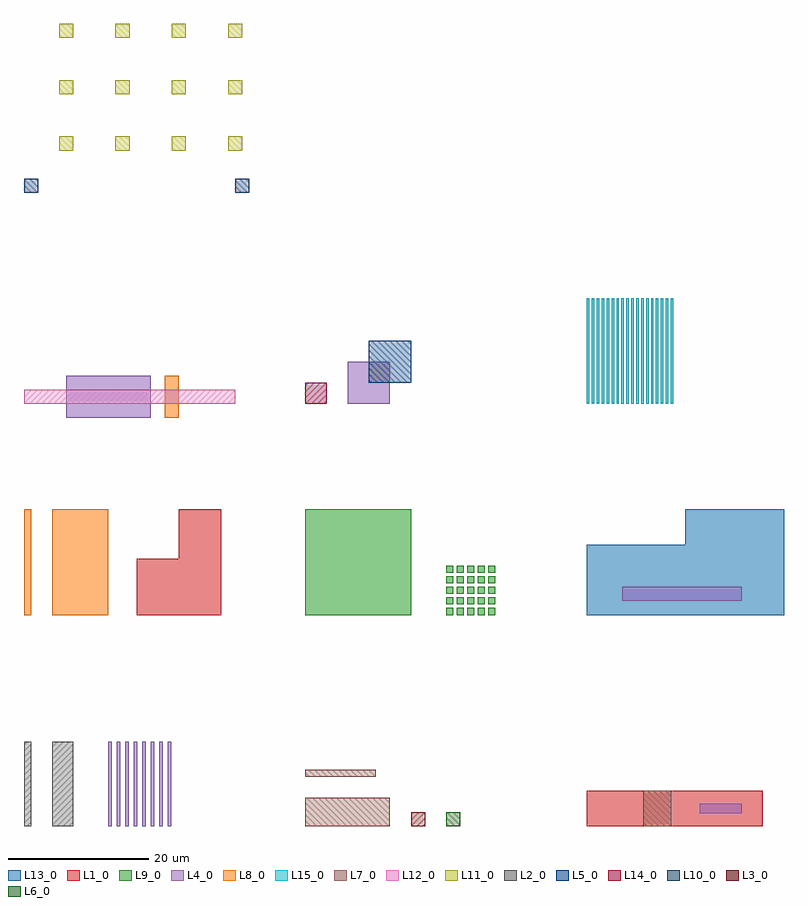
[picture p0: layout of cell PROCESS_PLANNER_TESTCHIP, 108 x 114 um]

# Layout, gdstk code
import gdstk
lib = gdstk.Library(unit=1e-6, precision=1e-09)
def R(c, l, rs):  # rectangles x0, y0, x1, y1
    for r in rs: c.add(gdstk.rectangle(r[:2], r[2:], *l))
def A(c, l, x, y, w, h, nx, ny, dx, dy):  # array of equal rectangles
    R(c, l, [(x+i*dx, y+j*dy, x+i*dx+w, y+j*dy+h) for i in range(nx) for j in range(ny)])
L1_0 = (1, 0)
L2_0 = (2, 0)
L3_0 = (3, 0)
L4_0 = (4, 0)
L5_0 = (5, 0)
L6_0 = (6, 0)
L7_0 = (7, 0)
L8_0 = (8, 0)
L9_0 = (9, 0)
L10_0 = (10, 0)
L11_0 = (11, 0)
L12_0 = (12, 0)
L13_0 = (13, 0)
L14_0 = (14, 0)
L15_0 = (15, 0)

cmp_planarization_densit = lib.new_cell('cmp_planarization_density')
A(cmp_planarization_densit, L9_0, 60, 30, 1, 1, 5, 5, 1.5, 1.5)
R(cmp_planarization_densit, L9_0, [(40,30,55,45)])

conformal_liner_challeng = lib.new_cell('conformal_liner_challenge')
R(conformal_liner_challeng, L1_0, [(16,30,22,38), (22,30,28,45)])
R(conformal_liner_challeng, L8_0, [(0,30,1,45), (4,30,12,45)])

fib_full_stack_test = lib.new_cell('fib_full_stack_test')
R(fib_full_stack_test, L4_0, [(6,58,18,64)])
R(fib_full_stack_test, L8_0, [(20,58,22,64)])
R(fib_full_stack_test, L12_0, [(0,60,30,62)])

grid_capture_test = lib.new_cell('grid_capture_test')
R(grid_capture_test, L10_0, [(0,90,2,92), (30,90,32,92)])
A(grid_capture_test, L11_0, 5, 96, 2, 2, 4, 3, 8, 8)

isotropic_undercut = lib.new_cell('isotropic_undercut')
R(isotropic_undercut, L1_0, [(80,0,105,5)])
R(isotropic_undercut, L4_0, [(96,1.8,102,3.2)])
R(isotropic_undercut, L7_0, [(88,0,92,5)])

label_stress_test = lib.new_cell('label_stress_test')
A(label_stress_test, L15_0, 80, 60, 0.35, 15, 18, 1, 0.7, 0)

point_stack_ellipsometry = lib.new_cell('point_stack_ellipsometry')
R(point_stack_ellipsometry, L4_0, [(46,60,52,66)])
R(point_stack_ellipsometry, L5_0, [(49,63,55,69)])
R(point_stack_ellipsometry, L14_0, [(40,60,43,63)])

profilometry_surface_tes = lib.new_cell('profilometry_surface_test')
R(profilometry_surface_tes, L4_0, [(85,32,102,34)])
R(profilometry_surface_tes, L13_0, [(80,30,94,40), (94,30,108,45)])

simple_line_space = lib.new_cell('simple_line_space')
R(simple_line_space, L2_0, [(0,0,1,12), (4,0,7,12)])
A(simple_line_space, L4_0, 12, 0, 0.5, 12, 8, 1, 1.2, 0)

trench_via_etch = lib.new_cell('trench_via_etch')
R(trench_via_etch, L3_0, [(55,0,57,2)])
R(trench_via_etch, L6_0, [(60,0,62,2)])
R(trench_via_etch, L7_0, [(40,0,52,4), (40,7,50,8)])

process_planner_testchip = lib.new_cell('PROCESS_PLANNER_TESTCHIP')
process_planner_testchip.add(gdstk.Reference(cmp_planarization_densit, (0,0)))
process_planner_testchip.add(gdstk.Reference(conformal_liner_challeng, (0,0)))
process_planner_testchip.add(gdstk.Reference(fib_full_stack_test, (0,0)))
process_planner_testchip.add(gdstk.Reference(grid_capture_test, (0,0)))
process_planner_testchip.add(gdstk.Reference(isotropic_undercut, (0,0)))
process_planner_testchip.add(gdstk.Reference(label_stress_test, (0,0)))
process_planner_testchip.add(gdstk.Reference(point_stack_ellipsometry, (0,0)))
process_planner_testchip.add(gdstk.Reference(profilometry_surface_tes, (0,0)))
process_planner_testchip.add(gdstk.Reference(simple_line_space, (0,0)))
process_planner_testchip.add(gdstk.Reference(trench_via_etch, (0,0)))

lib.write_gds('PROCESS_PLANNER_TESTCHIP.gds')
